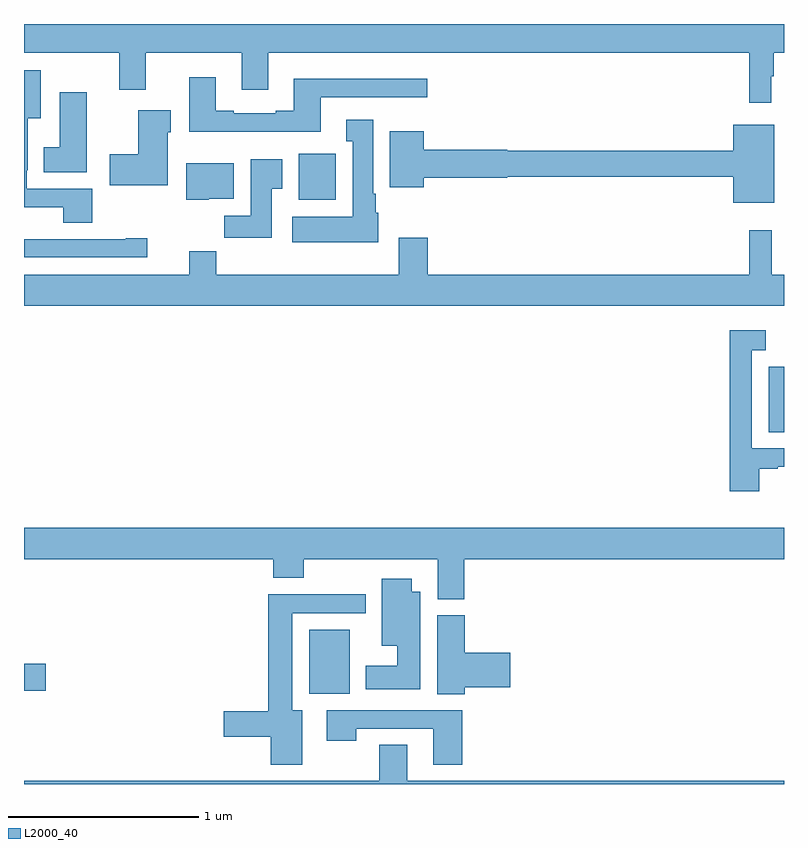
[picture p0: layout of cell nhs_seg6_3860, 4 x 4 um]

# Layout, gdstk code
import gdstk
lib = gdstk.Library(unit=1e-6, precision=1e-09)
def R(c, l, rs):  # rectangles x0, y0, x1, y1
    for r in rs: c.add(gdstk.rectangle(r[:2], r[2:], *l))
def P(c, l, *ps):  # polygons
    for p in ps: c.add(gdstk.Polygon(p, *l))
L2000_40 = (2000, 40)

nhs_seg6_3860 = lib.new_cell('nhs_seg6_3860')
R(nhs_seg6_3860, L2000_40, [(340.502,931.976,340.714,932.311), (339,931.99,339.115,932.132), (342.92,933.352,343,933.696), (340.445,934.574,340.642,934.816)])
P(nhs_seg6_3860, L2000_40, [(342.934,935.225),(342.946,935.225),(342.946,935.348),(343,935.348),(343,935.5),(339,935.5),(339,935.348),(339.5,935.348),(339.5,935.154),(339.64,935.154),(339.64,935.348),(340.145,935.348),(340.145,935.154),(340.285,935.154),(340.285,935.348),(342.817,935.348),(342.817,935.085),(342.934,935.085)],
  [(339.359,934.632),(339.015,934.632),(339.015,934.729),(339.019,934.729),(339.019,935.003),(339.088,935.003),(339.088,935.257),(339,935.257),(339,934.536),(339.206,934.536),(339.206,934.453),(339.359,934.453)],
  [(340.561,935.115),(341.122,935.115),(341.122,935.212),(340.421,935.212),(340.421,935.044),(340.325,935.044),(340.325,935.031),(340.105,935.031),(340.105,935.044),(340.009,935.044),(340.009,935.221),(339.869,935.221),(339.869,934.934),(340.561,934.934)],
  [(339.331,935.14),(339.188,935.14),(339.188,934.852),(339.104,934.852),(339.104,934.721),(339.331,934.721)],
  [(339.757,934.929),(339.772,934.929),(339.772,935.047),(339.602,935.047),(339.602,934.815),(339.45,934.815),(339.45,934.652),(339.757,934.652)],
  [(340.864,934.506),(340.852,934.506),(340.852,934.606),(340.837,934.606),(340.837,934.996),(340.697,934.996),(340.697,934.883),(340.73,934.883),(340.73,934.486),(340.413,934.486),(340.413,934.352),(340.864,934.352)],
  [(342.949,934.969),(342.734,934.969),(342.734,934.832),(341.544,934.832),(341.544,934.838),(341.104,934.838),(341.104,934.936),(340.925,934.936),(340.925,934.64),(341.104,934.64),(341.104,934.691),(341.544,934.691),(341.544,934.696),(342.734,934.696),(342.734,934.559),(342.949,934.559)],
  [(340.303,934.633),(340.36,934.633),(340.36,934.789),(340.193,934.789),(340.193,934.492),(340.054,934.492),(340.054,934.374),(340.303,934.374)],
  [(339.972,934.58),(340.105,934.58),(340.105,934.768),(339.854,934.768),(339.854,934.574),(339.972,934.574)],
  [(343,934.18),(342.935,934.18),(342.935,934.414),(342.817,934.414),(342.817,934.18),(341.126,934.18),(341.126,934.375),(340.973,934.375),(340.973,934.18),(340.013,934.18),(340.013,934.304),(339.869,934.304),(339.869,934.18),(339,934.18),(339,934.016),(343,934.016)],
  [(339.649,934.373),(339.536,934.373),(339.536,934.368),(339,934.368),(339,934.272),(339.649,934.272)],
  [(342.871,933.159),(342.967,933.159),(342.967,933.171),(343,933.171),(343,933.267),(342.831,933.267),(342.831,933.783),(342.904,933.783),(342.904,933.889),(342.715,933.889),(342.715,933.042),(342.871,933.042)],
  [(341.318,932.684),(343,932.684),(343,932.848),(339,932.848),(339,932.684),(340.313,932.684),(340.313,932.585),(340.473,932.585),(340.473,932.684),(341.177,932.684),(341.177,932.473),(341.318,932.473)],
  [(341.086,932.512),(341.041,932.512),(341.041,932.581),(340.883,932.581),(340.883,932.228),(340.964,932.228),(340.964,932.122),(340.799,932.122),(340.799,932),(341.086,932)],
  [(340.465,931.888),(340.411,931.888),(340.411,932.4),(340.798,932.4),(340.798,932.498),(340.286,932.498),(340.286,931.883),(340.05,931.883),(340.05,931.748),(340.298,931.748),(340.298,931.602),(340.465,931.602)],
  [(341.321,932.009),(341.56,932.009),(341.56,932.192),(341.321,932.192),(341.321,932.388),(341.174,932.388),(341.174,931.972),(341.321,931.972)],
  [(341.306,931.887),(340.593,931.887),(340.593,931.728),(340.749,931.728),(340.749,931.791),(341.153,931.791),(341.153,931.602),(341.306,931.602)],
  [(343,931.516),(341.017,931.516),(341.017,931.706),(340.87,931.706),(340.87,931.516),(339,931.516),(339,931.5),(343,931.5)])

lib.write_gds('nhs_seg6_3860.gds')
